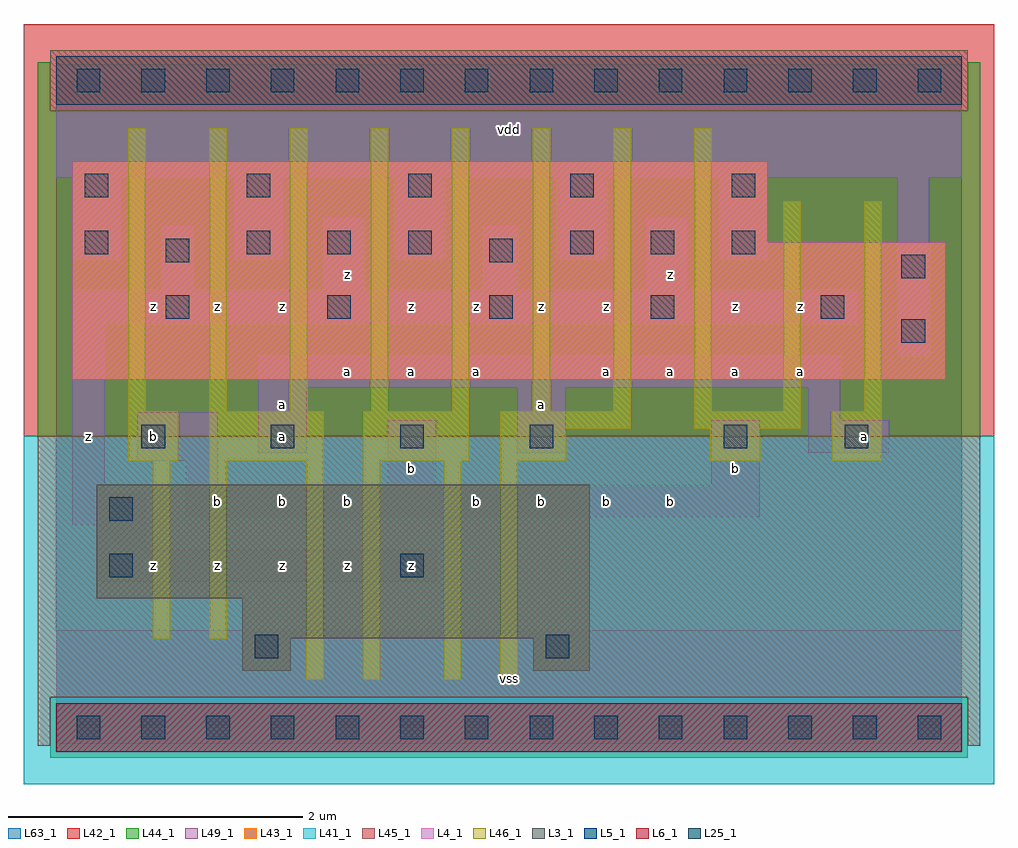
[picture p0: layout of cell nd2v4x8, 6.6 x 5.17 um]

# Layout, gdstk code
import gdstk
lib = gdstk.Library(unit=1e-6, precision=1e-09)
def R(c, l, rs):  # rectangles x0, y0, x1, y1
    for r in rs: c.add(gdstk.rectangle(r[:2], r[2:], *l))
def A(c, l, x, y, w, h, nx, ny, dx, dy):  # array of equal rectangles
    R(c, l, [(x+i*dx, y+j*dy, x+i*dx+w, y+j*dy+h) for i in range(nx) for j in range(ny)])
L3_1 = (3, 1)
L4_1 = (4, 1)
L5_1 = (5, 1)
L6_1 = (6, 1)
L25_1 = (25, 1)
L41_1 = (41, 1)
L42_1 = (42, 1)
L43_1 = (43, 1)
L44_1 = (44, 1)
L45_1 = (45, 1)
L46_1 = (46, 1)
L49_1 = (49, 1)
L63_1 = (63, 1)

nd2v4x8 = lib.new_cell('nd2v4x8')
R(nd2v4x8, L3_1, [(1.265,0.385,1.595,0.605), (3.245,0.385,3.63,0.605), (1.265,0.605,3.63,0.88), (0.275,0.88,3.63,1.65)])
R(nd2v4x8, L4_1, [(0.11,2.365,6.05,3.3), (0.11,3.3,4.84,3.85)])
R(nd2v4x8, L5_1, [(0,4.235,6.16,4.565)])
R(nd2v4x8, L6_1, [(0,-0.165,6.16,0.165)])
A(nd2v4x8, L25_1, 0.14, -0.08, 0.16, 0.16, 14, 2, 0.44, 4.4)
A(nd2v4x8, L25_1, 0.58, 1.9, 0.16, 0.16, 4, 1, 0.88, 0)
A(nd2v4x8, L25_1, 0.745, 2.78, 0.16, 0.16, 4, 1, 1.1, 0)
A(nd2v4x8, L25_1, 1.295, 3.22, 0.16, 0.16, 3, 1, 0.55, 0)
A(nd2v4x8, L25_1, 3.495, 3.22, 0.16, 0.16, 3, 1, 0.55, 0)
A(nd2v4x8, L25_1, 0.195, 3.605, 0.16, 0.16, 5, 1, 1.1, 0)
R(nd2v4x8, L25_1, [(1.35,0.47,1.51,0.63), (3.33,0.47,3.49,0.63), (0.36,1.02,0.52,1.18), (2.34,1.02,2.5,1.18), (0.36,1.405,0.52,1.565), (4.54,1.9,4.7,2.06), (5.365,1.9,5.525,2.06), (5.75,2.615,5.91,2.775), (5.2,2.78,5.36,2.94), (5.75,3.055,5.91,3.215), (0.745,3.165,0.905,3.325), (2.945,3.165,3.105,3.325), (0.195,3.22,0.355,3.38)])
R(nd2v4x8, L41_1, [(-0.22,-0.385,6.38,1.98)])
R(nd2v4x8, L42_1, [(-0.22,1.98,6.38,4.785)])
R(nd2v4x8, L43_1, [(0,-0.165,6.16,0.165), (1.265,0.385,1.595,0.605), (3.245,0.385,3.63,0.605), (1.265,0.605,3.63,0.88), (0.275,0.88,3.63,1.65), (0.11,2.365,6.05,3.3), (0.11,3.3,4.84,3.85), (0,4.235,6.16,4.565)])
R(nd2v4x8, L44_1, [(-0.04,-0.205,6.2,0.205), (-0.125,1.98,6.285,4.195), (-0.125,4.195,-0.04,4.525), (6.2,4.195,6.285,4.525)])
R(nd2v4x8, L45_1, [(-0.125,-0.125,-0.04,0.205), (6.2,-0.125,6.285,0.205), (-0.125,0.205,6.285,1.98), (-0.04,4.195,6.2,4.605)])
A(nd2v4x8, L46_1, 0.49, 2.15, 0.12, 1.925, 8, 1, 0.55, 0)
R(nd2v4x8, L46_1, [(1.7,0.325,1.82,1.81), (2.085,0.325,2.205,1.81), (2.635,0.325,2.755,1.81), (3.02,0.325,3.14,1.81), (0.655,0.6,0.775,1.81), (1.04,0.6,1.16,1.81), (0.49,1.81,0.83,2.15), (1.04,1.81,1.82,2.15), (2.085,1.81,2.81,2.15), (3.02,1.81,3.47,2.03), (4.45,1.81,4.79,2.03), (5.275,1.81,5.615,2.15), (3.02,2.03,3.91,2.15), (4.34,2.03,5.065,2.15), (4.945,2.15,5.065,3.58), (5.495,2.15,5.615,3.58)])
A(nd2v4x8, L49_1, 0.11, 3.19, 0.33, 0.55, 5, 1, 1.1, 0)
R(nd2v4x8, L49_1, [(0,-0.11,6.16,0.66), (0.275,0.99,2.585,1.21), (0.275,1.21,0.605,1.375), (0.11,1.375,0.605,1.595), (0.88,1.43,4.785,1.65), (0.11,1.595,0.33,2.75), (0.88,1.65,1.1,1.815), (2.255,1.65,2.585,2.09), (4.455,1.65,4.785,2.09), (0.55,1.815,1.1,2.145), (1.375,1.87,1.705,2.31), (3.135,1.87,3.465,2.31), (5.115,1.87,5.665,2.09), (5.115,2.09,5.335,2.31), (1.375,2.31,5.335,2.53), (5.72,2.53,5.94,3.74), (0.11,2.75,5.445,2.97), (0.715,2.97,0.935,3.41), (1.815,2.97,2.09,3.465), (2.915,2.97,3.135,3.41), (4.015,2.97,4.29,3.465), (0,3.74,6.16,4.51)])
R(nd2v4x8, L63_1, [(0,0,6.16,4.4)])
nd2v4x8.add(gdstk.Label('z', (0.66,1.1), layer=49, texttype=1))
nd2v4x8.add(gdstk.Label('b', (0.66,1.98), layer=49, texttype=1))
nd2v4x8.add(gdstk.Label('z', (0.22,1.98), layer=49, texttype=1))
nd2v4x8.add(gdstk.Label('z', (0.66,2.86), layer=49, texttype=1))
nd2v4x8.add(gdstk.Label('z', (1.1,1.1), layer=49, texttype=1))
nd2v4x8.add(gdstk.Label('b', (1.1,1.54), layer=49, texttype=1))
nd2v4x8.add(gdstk.Label('z', (1.54,1.1), layer=49, texttype=1))
nd2v4x8.add(gdstk.Label('b', (1.54,1.54), layer=49, texttype=1))
nd2v4x8.add(gdstk.Label('z', (1.98,1.1), layer=49, texttype=1))
nd2v4x8.add(gdstk.Label('b', (1.98,1.54), layer=49, texttype=1))
nd2v4x8.add(gdstk.Label('a', (1.54,1.98), layer=49, texttype=1))
nd2v4x8.add(gdstk.Label('a', (1.54,2.2), layer=49, texttype=1))
nd2v4x8.add(gdstk.Label('a', (1.98,2.42), layer=49, texttype=1))
nd2v4x8.add(gdstk.Label('z', (1.54,2.86), layer=49, texttype=1))
nd2v4x8.add(gdstk.Label('z', (1.1,2.86), layer=49, texttype=1))
nd2v4x8.add(gdstk.Label('z', (1.98,3.08), layer=49, texttype=1))
nd2v4x8.add(gdstk.Label('vss', (3.08,0.33), layer=49, texttype=1))
nd2v4x8.add(gdstk.Label('z', (2.42,1.1), layer=49, texttype=1))
nd2v4x8.add(gdstk.Label('b', (2.86,1.54), layer=49, texttype=1))
nd2v4x8.add(gdstk.Label('b', (3.3,1.54), layer=49, texttype=1))
nd2v4x8.add(gdstk.Label('b', (2.42,1.76), layer=49, texttype=1))
nd2v4x8.add(gdstk.Label('a', (2.42,2.42), layer=49, texttype=1))
nd2v4x8.add(gdstk.Label('a', (2.86,2.42), layer=49, texttype=1))
nd2v4x8.add(gdstk.Label('a', (3.3,2.2), layer=49, texttype=1))
nd2v4x8.add(gdstk.Label('z', (2.86,2.86), layer=49, texttype=1))
nd2v4x8.add(gdstk.Label('z', (3.3,2.86), layer=49, texttype=1))
nd2v4x8.add(gdstk.Label('z', (2.42,2.86), layer=49, texttype=1))
nd2v4x8.add(gdstk.Label('vdd', (3.08,4.07), layer=49, texttype=1))
nd2v4x8.add(gdstk.Label('b', (3.74,1.54), layer=49, texttype=1))
nd2v4x8.add(gdstk.Label('b', (4.18,1.54), layer=49, texttype=1))
nd2v4x8.add(gdstk.Label('b', (4.62,1.76), layer=49, texttype=1))
nd2v4x8.add(gdstk.Label('a', (3.74,2.42), layer=49, texttype=1))
nd2v4x8.add(gdstk.Label('a', (4.18,2.42), layer=49, texttype=1))
nd2v4x8.add(gdstk.Label('a', (4.62,2.42), layer=49, texttype=1))
nd2v4x8.add(gdstk.Label('z', (4.62,2.86), layer=49, texttype=1))
nd2v4x8.add(gdstk.Label('z', (3.74,2.86), layer=49, texttype=1))
nd2v4x8.add(gdstk.Label('z', (4.18,3.08), layer=49, texttype=1))
nd2v4x8.add(gdstk.Label('a', (5.06,2.42), layer=49, texttype=1))
nd2v4x8.add(gdstk.Label('a', (5.5,1.98), layer=49, texttype=1))
nd2v4x8.add(gdstk.Label('z', (5.06,2.86), layer=49, texttype=1))

lib.write_gds('nd2v4x8.gds')
